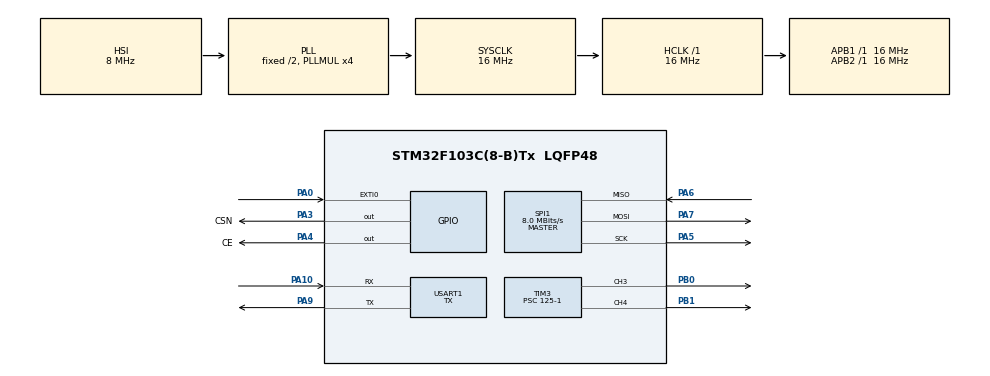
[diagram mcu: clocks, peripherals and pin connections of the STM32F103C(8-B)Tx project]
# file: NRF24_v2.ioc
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Mcu.Family=STM32F1
Mcu.Name=STM32F103C(8-B)Tx
Mcu.Package=LQFP48
NVIC.PriorityGroup=NVIC_PRIORITYGROUP_4
NVIC.SPI1_IRQn=true\:0\:0\:false\:false\:true\:true\:true\:true
NVIC.TIM3_IRQn=true\:0\:0\:false\:false\:true\:true\:true\:true
NVIC.USART1_IRQn=true\:0\:0\:false\:false\:true\:true\:true\:true
PA0-WKUP.GPIO_ModeDefaultEXTI=GPIO_MODE_IT_FALLING
PA0-WKUP.Signal=GPXTI0
PA10.Mode=Asynchronous
PA10.Signal=USART1_RX
PA13.Mode=Serial_Wire
PA13.Signal=SYS_JTMS-SWDIO
PA14.Mode=Serial_Wire
PA14.Signal=SYS_JTCK-SWCLK
PA3.GPIO_Label=CSN
PA3.GPIO_Speed=GPIO_SPEED_FREQ_HIGH
PA3.PinState=GPIO_PIN_RESET
PA3.Signal=GPIO_Output
PA4.GPIO_Label=CE
PA4.GPIO_Speed=GPIO_SPEED_FREQ_HIGH
PA4.Signal=GPIO_Output
PA5.Mode=Full_Duplex_Master
PA5.Signal=SPI1_SCK
PA6.Mode=Full_Duplex_Master
PA6.Signal=SPI1_MISO
PA7.Mode=Full_Duplex_Master
PA7.Signal=SPI1_MOSI
PA9.Mode=Asynchronous
PA9.Signal=USART1_TX
PB0.Signal=S_TIM3_CH3
PB1.Signal=S_TIM3_CH4
ProjectManager.HeapSize=0x200
ProjectManager.StackSize=0x400
ProjectManager.TargetToolchain=STM32CubeIDE
RCC.AHBFreq_Value=16000000
RCC.APB1Freq_Value=16000000
RCC.APB1TimFreq_Value=16000000
RCC.APB2Freq_Value=16000000
RCC.APB2TimFreq_Value=16000000
RCC.HCLKFreq_Value=16000000
RCC.PLLMUL=RCC_PLL_MUL4
RCC.SYSCLKFreq_VALUE=16000000
RCC.SYSCLKSource=RCC_SYSCLKSOURCE_PLLCLK
RCC.USBFreq_Value=16000000
SH.S_TIM3_CH3.0=TIM3_CH3,PWM Generation3 CH3
SH.S_TIM3_CH4.0=TIM3_CH4,PWM Generation4 CH4
SPI1.CalculateBaudRate=8.0 MBits/s
SPI1.Direction=SPI_DIRECTION_2LINES
SPI1.Mode=SPI_MODE_MASTER
SPI1.VirtualType=VM_MASTER
TIM3.AutoReloadPreload=TIM_AUTORELOAD_PRELOAD_ENABLE
TIM3.Channel-PWM\ Generation3\ CH3=TIM_CHANNEL_3
TIM3.Channel-PWM\ Generation4\ CH4=TIM_CHANNEL_4
TIM3.ClockDivision=TIM_CLOCKDIVISION_DIV1
TIM3.Period=2560-1
TIM3.Prescaler=125-1
USART1.Mode=MODE_TX
USART1.VirtualMode=VM_ASYNC
VP_TIM3_VS_ClockSourceINT.Mode=Internal
board=custom

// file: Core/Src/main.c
/* USER CODE BEGIN Header */
/**
  ******************************************************************************
  * @file           : main.c
  * @brief          : Main program body
  ******************************************************************************
  * @attention
  *
  * Copyright (c) 2025 STMicroelectronics.
  * All rights reserved.
  *
  * This software is licensed under terms that can be found in the LICENSE file
  * in the root directory of this software component.
  * If no LICENSE file comes with this software, it is provided AS-IS.
  *
  ******************************************************************************
  */
/* USER CODE END Header */
#include "main.h"

/* USER CODE BEGIN Includes */
#include <stdbool.h>
#include <stdio.h>
#include <string.h>
#include "NRF24.h"
#include "NRF24_reg_addresses.h"
/* USER CODE END Includes */

/* USER CODE BEGIN PD */
#define PLD_SIZE 32

/* USER CODE END PD */

/* USER CODE BEGIN PM */
#define _BV(x) (1 << (x))
/* USER CODE END PM */

SPI_HandleTypeDef hspi1;

TIM_HandleTypeDef htim3;

UART_HandleTypeDef huart1;

/* USER CODE BEGIN PV */
uint8_t addr[5]={0xE1, 0xF0, 0xF0, 0xE8, 0xE8};

typedef struct{
  uint16_t x;
  uint16_t y;
} mensaje_t;

mensaje_t mensaje;
/* USER CODE END PV */

void SystemClock_Config(void);
static void MX_GPIO_Init(void);
static void MX_SPI1_Init(void);
static void MX_USART1_UART_Init(void);
static void MX_TIM3_Init(void);
/* USER CODE BEGIN PFP */
bool NRF24_Init(void){
	ce_low();
	csn_high();

	HAL_Delay(5);

	// Velocidad inicial confiable (1 Mbps)
	nrf24_data_rate(_1mbps);

    // Deshabilitar ACK payload y payload dinámico por defecto
	nrf24_en_ack_pld(disable);
	nrf24_en_dyn_ack(disable);
	nrf24_dpl(disable);

    // Habilitar auto-ack en todos los pipes (puede ajustarse)
	nrf24_auto_ack_all(enable);

    // Habilitar solo pipes RX 0 y 1 por defecto
	nrf24_open_rx_pipe(0, addr);
	nrf24_open_rx_pipe(1, addr);
//	uint8_t data = 0x03
//	nrf24_w_reg(EN_RXADDR, data, sizeof(data));

    // Tamaño fijo de payload (por defecto 32 bytes)
	nrf24_pipe_pld_size(0, PLD_SIZE);
	nrf24_pipe_pld_size(1, PLD_SIZE);
	nrf24_pipe_pld_size(2, PLD_SIZE);
	nrf24_pipe_pld_size(3, PLD_SIZE);
	nrf24_pipe_pld_size(4, PLD_SIZE);
	nrf24_pipe_pld_size(5, PLD_SIZE);

    // Ancho de dirección: 5 bytes (máximo permitido)
	nrf24_set_addr_width(5);

	// Canal por defecto (76 → dentro de ISM band y sin interferencia típica)
	nrf24_set_channel(76);

    // Limpiar flags de status
	nrf24_clear_max_rt();
	nrf24_clear_rx_dr();
	nrf24_clear_tx_ds();

    // Flush buffers
	nrf24_flush_rx();
	nrf24_flush_tx();

	//Retransmission setup
	// 0110 (ARD) = 1.5ms, 0101 (ARC) = 5 retries.
//	uint8_t setup = 0b01100101;
//	uint8_t* p = &setup;
//	nrf24_w_reg(SETUP_RETR, p, sizeof(setup));
//
//	uint8_t SETUP_reg = nrf24_r_reg(SETUP_RETR, 1);

	//Para debug
	uint8_t CONFIG_reg = nrf24_r_reg(CONFIG, 1);

    // Configurar registro CONFIG:
    // - CRC de 2 bytes (CRCO)
    // - CRC habilitado (EN_CRC)
    // - Power Up (PWR_UP)
    // - Modo PTX (PRIM_RX = 0)
	nrf24_set_crc(en_crc, _2byte);
	nrf24_pwr_up();
	// Pongo en Modo PTX (PRIM_RX = 0)
	nrf24_set_bit(CONFIG, 0, 0);

	//Para debug
	CONFIG_reg = nrf24_r_reg(CONFIG, 1);

    // Delay de power-up a standby (~1.5ms recomendado)
    HAL_Delay(2);

    // Verificación de escritura de CONFIG
    return (nrf24_r_reg(CONFIG, 1) == (_BV(EN_CRC) | _BV(CRCO) | _BV(PWR_UP))) ? true : false;

}
/* USER CODE END PFP */

int main(void)
{

  /* MCU Configuration--------------------------------------------------------*/

  /* Reset of all peripherals, Initializes the Flash interface and the Systick. */
  HAL_Init();

  /* Configure the system clock */
  SystemClock_Config();

  /* Initialize all configured peripherals */
  MX_GPIO_Init();
  MX_SPI1_Init();
  MX_USART1_UART_Init();
  MX_TIM3_Init();
  /* USER CODE BEGIN 2 */

  if (NRF24_Init() == 0) {

	HAL_UART_Transmit(&huart1, (uint8_t*)"Error al iniciar la radio.\n", strlen("Error al iniciar la radio.\n"), HAL_MAX_DELAY);
  }
  else{

	HAL_UART_Transmit(&huart1, (uint8_t*)"Radio Iniciada.\n", strlen("Radio Iniciada.\n"), HAL_MAX_DELAY);
  }

  //radio.setDataRate(RF24_250KBPS);
  //nrf24_data_rate(_250kbps);
  //radio.openReadingPipe(1, direccion);
  nrf24_open_rx_pipe(1, addr);
  //radio.startListening();
  nrf24_listen();

  HAL_TIM_Base_Start(&htim3);
  HAL_TIM_PWM_Start(&htim3, TIM_CHANNEL_3);
  HAL_TIM_PWM_Start(&htim3, TIM_CHANNEL_4);

  htim3.Instance->CCR3 = 256;
  htim3.Instance->CCR4 = 256;

  HAL_Delay(2000);

  htim3.Instance->CCR3 = 127;
  htim3.Instance->CCR4 = 127;

  HAL_Delay(2000);

  /* USER CODE END 2 */

  /* Infinite loop */
  /* USER CODE BEGIN WHILE */
  while (1)
  {
//	if (radio.available()) {
//	  radio.read(&mensaje, sizeof(mensaje));
//	  Serial.print("\nCoord X: ");
//	  Serial.print((int)mensaje.x);
//	  Serial.print("\tCoord Y: ");
//	  Serial.print((int)mensaje.y);
//	}
	if (nrf24_data_available()) {
	  //radio.read(&mensaje, sizeof(mensaje));
		uint8_t rx_buffer[sizeof(mensaje_t)];

		nrf24_receive(rx_buffer, sizeof(mensaje_t));

		mensaje.x = (rx_buffer[1] << 8) | rx_buffer[0];
		mensaje.y = (rx_buffer[3] << 8) | rx_buffer[2];

	    char buffer[100];
		snprintf(buffer,sizeof(buffer),"\nCoord X: %i\tCoord Y: %i",mensaje.x,mensaje.y);
		HAL_UART_Transmit(&huart1, (uint8_t*)buffer, strlen(buffer), HAL_MAX_DELAY);

		nrf24_flush_rx();

		htim3.Instance->CCR3 = (mensaje.x >> 5) + 127;
		htim3.Instance->CCR4 = (mensaje.y >> 5) + 127;

	}

	HAL_Delay(5);
    /* USER CODE END WHILE */

  }
}

void SystemClock_Config(void)
{
  RCC_OscInitTypeDef RCC_OscInitStruct = {0};
  RCC_ClkInitTypeDef RCC_ClkInitStruct = {0};

  /** Initializes the RCC Oscillators according to the specified parameters
  * in the RCC_OscInitTypeDef structure.
  */
  RCC_OscInitStruct.OscillatorType = RCC_OSCILLATORTYPE_HSI;
  RCC_OscInitStruct.HSIState = RCC_HSI_ON;
  RCC_OscInitStruct.HSICalibrationValue = RCC_HSICALIBRATION_DEFAULT;
  RCC_OscInitStruct.PLL.PLLState = RCC_PLL_ON;
  RCC_OscInitStruct.PLL.PLLSource = RCC_PLLSOURCE_HSI_DIV2;
  RCC_OscInitStruct.PLL.PLLMUL = RCC_PLL_MUL4;
  if (HAL_RCC_OscConfig(&RCC_OscInitStruct) != HAL_OK)
  {
    Error_Handler();
  }

  /** Initializes the CPU, AHB and APB buses clocks
  */
  RCC_ClkInitStruct.ClockType = RCC_CLOCKTYPE_HCLK|RCC_CLOCKTYPE_SYSCLK
                              |RCC_CLOCKTYPE_PCLK1|RCC_CLOCKTYPE_PCLK2;
  RCC_ClkInitStruct.SYSCLKSource = RCC_SYSCLKSOURCE_PLLCLK;
  RCC_ClkInitStruct.AHBCLKDivider = RCC_SYSCLK_DIV1;
  RCC_ClkInitStruct.APB1CLKDivider = RCC_HCLK_DIV1;
  RCC_ClkInitStruct.APB2CLKDivider = RCC_HCLK_DIV1;

  if (HAL_RCC_ClockConfig(&RCC_ClkInitStruct, FLASH_LATENCY_0) != HAL_OK)
  {
    Error_Handler();
  }
}

static void MX_SPI1_Init(void)
{

  /* SPI1 parameter configuration*/
  hspi1.Instance = SPI1;
  hspi1.Init.Mode = SPI_MODE_MASTER;
  hspi1.Init.Direction = SPI_DIRECTION_2LINES;
  hspi1.Init.DataSize = SPI_DATASIZE_8BIT;
  hspi1.Init.CLKPolarity = SPI_POLARITY_LOW;
  hspi1.Init.CLKPhase = SPI_PHASE_1EDGE;
  hspi1.Init.NSS = SPI_NSS_SOFT;
  hspi1.Init.BaudRatePrescaler = SPI_BAUDRATEPRESCALER_2;
  hspi1.Init.FirstBit = SPI_FIRSTBIT_MSB;
  hspi1.Init.TIMode = SPI_TIMODE_DISABLE;
  hspi1.Init.CRCCalculation = SPI_CRCCALCULATION_DISABLE;
  hspi1.Init.CRCPolynomial = 10;
  if (HAL_SPI_Init(&hspi1) != HAL_OK)
  {
    Error_Handler();
  }

}

static void MX_TIM3_Init(void)
{

  TIM_ClockConfigTypeDef sClockSourceConfig = {0};
  TIM_MasterConfigTypeDef sMasterConfig = {0};
  TIM_OC_InitTypeDef sConfigOC = {0};

  htim3.Instance = TIM3;
  htim3.Init.Prescaler = 125-1;
  htim3.Init.CounterMode = TIM_COUNTERMODE_UP;
  htim3.Init.Period = 2560-1;
  htim3.Init.ClockDivision = TIM_CLOCKDIVISION_DIV1;
  htim3.Init.AutoReloadPreload = TIM_AUTORELOAD_PRELOAD_ENABLE;
  if (HAL_TIM_Base_Init(&htim3) != HAL_OK)
  {
    Error_Handler();
  }
  sClockSourceConfig.ClockSource = TIM_CLOCKSOURCE_INTERNAL;
  if (HAL_TIM_ConfigClockSource(&htim3, &sClockSourceConfig) != HAL_OK)
  {
    Error_Handler();
  }
  if (HAL_TIM_PWM_Init(&htim3) != HAL_OK)
  {
    Error_Handler();
  }
  sMasterConfig.MasterOutputTrigger = TIM_TRGO_RESET;
  sMasterConfig.MasterSlaveMode = TIM_MASTERSLAVEMODE_DISABLE;
  if (HAL_TIMEx_MasterConfigSynchronization(&htim3, &sMasterConfig) != HAL_OK)
  {
    Error_Handler();
  }
  sConfigOC.OCMode = TIM_OCMODE_PWM1;
  sConfigOC.Pulse = 0;
  sConfigOC.OCPolarity = TIM_OCPOLARITY_HIGH;
  sConfigOC.OCFastMode = TIM_OCFAST_DISABLE;
  if (HAL_TIM_PWM_ConfigChannel(&htim3, &sConfigOC, TIM_CHANNEL_3) != HAL_OK)
  {
    Error_Handler();
  }
  if (HAL_TIM_PWM_ConfigChannel(&htim3, &sConfigOC, TIM_CHANNEL_4) != HAL_OK)
  {
    Error_Handler();
  }
  HAL_TIM_MspPostInit(&htim3);

}

static void MX_USART1_UART_Init(void)
{

  huart1.Instance = USART1;
  huart1.Init.BaudRate = 115200;
  huart1.Init.WordLength = UART_WORDLENGTH_8B;
  huart1.Init.StopBits = UART_STOPBITS_1;
  huart1.Init.Parity = UART_PARITY_NONE;
  huart1.Init.Mode = UART_MODE_TX;
  huart1.Init.HwFlowCtl = UART_HWCONTROL_NONE;
  huart1.Init.OverSampling = UART_OVERSAMPLING_16;
  if (HAL_UART_Init(&huart1) != HAL_OK)
  {
    Error_Handler();
  }

}

static void MX_GPIO_Init(void)
{
  GPIO_InitTypeDef GPIO_InitStruct = {0};

  /* GPIO Ports Clock Enable */
  __HAL_RCC_GPIOA_CLK_ENABLE();
  __HAL_RCC_GPIOB_CLK_ENABLE();

  /*Configure GPIO pin Output Level */
  HAL_GPIO_WritePin(GPIOA, CSN_Pin|CE_Pin, GPIO_PIN_RESET);

  /*Configure GPIO pin : PA0 */
  GPIO_InitStruct.Pin = GPIO_PIN_0;
  GPIO_InitStruct.Mode = GPIO_MODE_IT_FALLING;
  GPIO_InitStruct.Pull = GPIO_NOPULL;
  HAL_GPIO_Init(GPIOA, &GPIO_InitStruct);

  /*Configure GPIO pins : CSN_Pin CE_Pin */
  GPIO_InitStruct.Pin = CSN_Pin|CE_Pin;
  GPIO_InitStruct.Mode = GPIO_MODE_OUTPUT_PP;
  GPIO_InitStruct.Pull = GPIO_NOPULL;
  GPIO_InitStruct.Speed = GPIO_SPEED_FREQ_HIGH;
  HAL_GPIO_Init(GPIOA, &GPIO_InitStruct);

}

void Error_Handler(void)
{
  __disable_irq();
  while (1)
  {
  }
}
